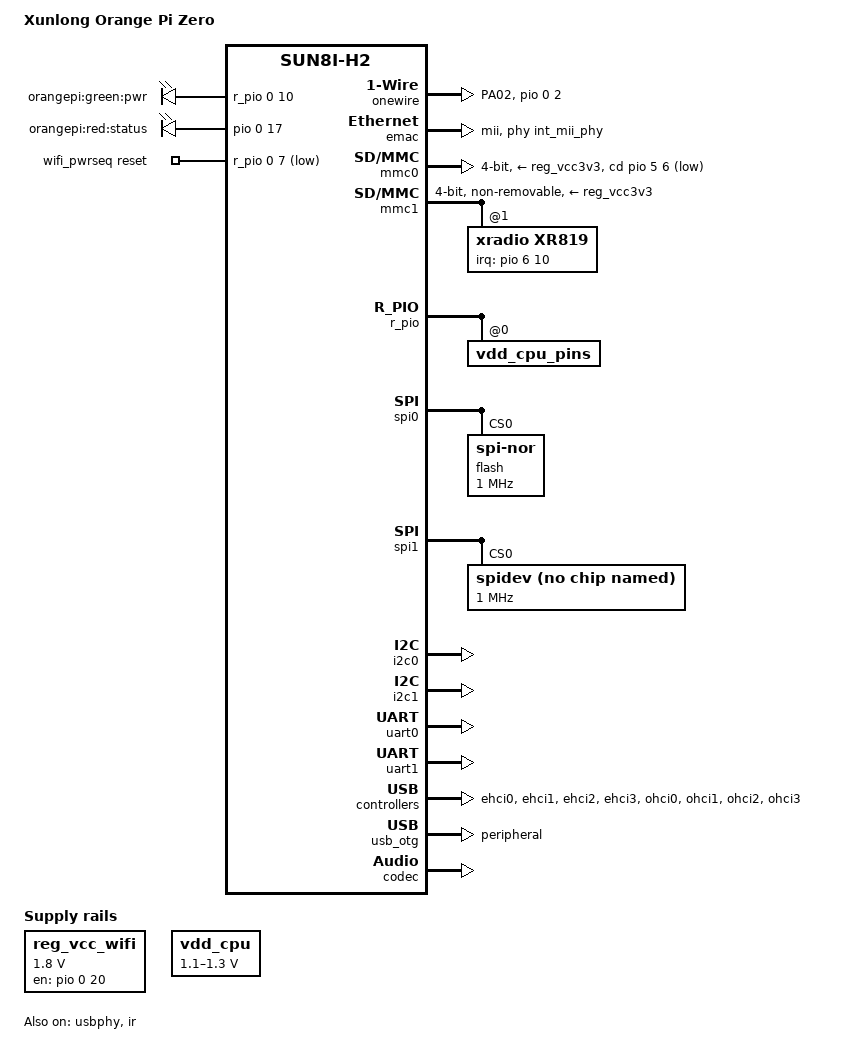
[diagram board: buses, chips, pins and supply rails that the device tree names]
/* by Zdenek Brichacek
   http://blog.brichacek.net
*/

/dts-v1/;
#include "sun8i-h3.dtsi"
#include "sunxi-common-regulators.dtsi"

#include <dt-bindings/gpio/gpio.h>
#include <dt-bindings/input/input.h>
#include <dt-bindings/pinctrl/sun4i-a10.h>
#include <dt-bindings/thermal/thermal.h>

/ {
	model = "Xunlong Orange Pi Zero";
	compatible = "xunlong,orangepi-zero", "allwinner,sun8i-h2-plus";

	aliases {
		serial0 = &uart0;
		/* ethernet0 is the H3 emac, defined in sun8i-h3.dtsi */
		ethernet0 = &emac;
		ethernet1 = &xr819;
		spi0 = "/soc/spi@01c68000";
		spi1 = "/soc/spi@01c69000";
		i2c0 = "/soc/i2c@01c2ac00";
		i2c1 = "/soc/i2c@01c2b000";
		cpu0 = "/cpus/cpu@0";
		serial1 = &uart1;
	};

	chosen {
		stdout-path = "serial0:115200n8";
	};

	cpus {
		#address-cells = <1>;
		#size-cells = <0>;

		cpu0: cpu@0 {
		    compatible = "arm,cortex-a7";
		    device_type = "cpu";
		    reg = <0>;
		    clocks = <&ccu CLK_CPUX>;
		    clock-latency = <244144>; /* 8 32k periods */
		    clock-frequency = <1200000000>;
		};

		cpu@1 {
		    compatible = "arm,cortex-a7";
		    device_type = "cpu";
		    reg = <1>;
		    clock-frequency = <1200000000>;
		};

		cpu@2 {
		    compatible = "arm,cortex-a7";
		    device_type = "cpu";
		    reg = <2>;
		    clock-frequency = <1200000000>;
		};

		cpu@3 {
		    compatible = "arm,cortex-a7";
		    device_type = "cpu";
		    reg = <3>;
		    clock-frequency = <1200000000>;
		};
	};

        thermal-zones {
                cpu_thermal: cpu_thermal {
                        /* milliseconds */
                        polling-delay-passive = <330>;
                        polling-delay = <1000>;
                        thermal-sensors = <&ths 0>;
                };
        };

	soc {
                crypto: crypto-engine@01c15000 {
                        compatible = "allwinner,sun8i-h3-crypto",
                    		     "allwinner,sun4i-a10-crypto",
                    		     "allwinner,sun6i-a31-crypto",
                    		     "allwinner,sun7i-a20-crypto";
                        reg = <0x01c15000 0x1000>;
//                        interrupts = <GIC_SPI 80 IRQ_TYPE_LEVEL_HIGH>;
                        interrupts = <GIC_SPI 86 IRQ_TYPE_LEVEL_HIGH>;
//                        clocks = <&ccu CLK_BUS_SS>, <&ccu CLK_SS>;
                        clocks = <&ccu 24>, <&ccu 69>;
                        clock-names = "ahb", "mod";
//                        resets = <&ccu RST_BUS_SS>;
                        resets = <&ccu 5>;
                        reset-names = "ahb";
                };

/*
		crypto: crypto@1c15000 {
                        compatible = "allwinner,sun8i-h3-crypto";
                        reg = <0x01c15000 0x1000>;
                        interrupts = <GIC_SPI 94 IRQ_TYPE_LEVEL_HIGH>;
                        interrupt-names = "ce_ns";
                        resets = <&ccu RST_BUS_CE>;
                        reset-names = "ahb";
                        clocks = <&ccu CLK_BUS_CE>, <&ccu CLK_CE>;
                        clock-names = "ahb1_ce", "mod";
                        status = "disabled";
                };
*/
                ths: ths@01c25000 {
                        compatible = "allwinner,sun8i-h3-ths";
//                        reg = <0x01c25000 0x100>;
			reg = <0x01c25000 0x400>,
			      <0x01c14234 0x4>;
			interrupts = <GIC_SPI 31 IRQ_TYPE_LEVEL_HIGH>;
                        #thermal-sensor-cells = <0>;
                        #io-channel-cells = <0>;
                        clocks = <&ccu CLK_BUS_THS>, <&ccu CLK_THS>;
                        clock-names = "bus", "ths";
                        resets = <&ccu RST_BUS_THS>;
                        reset-names = "ahb";
                };

		onewire {
            		compatible = "w1-gpio";
            		pinctrl-names = "default";
            		pinctrl-0 = <&w1_pins>;
            		gpios = <&pio 0 2 0>; /* PA02 */
            		status = "okay";
    		};
	};

	leds {
		compatible = "gpio-leds";

		pwr_led {
			label = "orangepi:green:pwr";
			gpios = <&r_pio 0 10 GPIO_ACTIVE_HIGH>;
			default-state = "on";
		};

		status_led {
			label = "orangepi:red:status";
			gpios = <&pio 0 17 GPIO_ACTIVE_HIGH>;
		};
	};

	reg_vcc_wifi: reg_vcc_wifi {
		compatible = "regulator-fixed";
		regulator-min-microvolt = <1800000>;
		regulator-max-microvolt = <1800000>;
		regulator-name = "vcc-wifi";
		enable-active-high;
		gpio = <&pio 0 20 GPIO_ACTIVE_HIGH>;
		startup-delay-us = <70000>;
	};

	wifi_pwrseq: wifi_pwrseq {
		compatible = "mmc-pwrseq-simple";
		pinctrl-names = "default";
		reset-gpios = <&r_pio 0 7 GPIO_ACTIVE_LOW>;
		post-power-on-delay-ms = <50>;
	};

//	iio-hwmon {
//                compatible = "iio-hwmon";
//                io-channels = <&ths>;
//        };

	vdd_cpu: vdd_cpu {
		compatible = "regulator-gpio";
		pinctrl-names = "default";
		pinctrl-0 = <&vdd_cpu_pins>;
		regulator-name = "cpu-core";
		regulator-min-microvolt = <1100000>;
		regulator-max-microvolt = <1300000>;
		regulator-boot-on;
		regulator-always-on;		
		gpios = <&r_pio 0 6 GPIO_ACTIVE_HIGH>;
//		enable-gpio = <&r_pio 0 8 GPIO_ACTIVE_HIGH>;
		states = <1300000 0x1
			1100000 0x0>;

		startup-delay-us = <100000>;
		enable-active-high;
	};

};

&emac {
	phy-handle = <&int_mii_phy>;
	phy-mode = "mii";
	allwinner,leds-active-low;
	status = "okay";
};

&mmc0 {
	pinctrl-names = "default";
	pinctrl-0 = <&mmc0_pins_a>;
	vmmc-supply = <&reg_vcc3v3>;
	bus-width = <4>;
	cd-gpios = <&pio 5 6 GPIO_ACTIVE_HIGH>; /* PF6 */
	cd-inverted;
	status = "okay";
};

&mmc1 {
	pinctrl-names = "default";
	pinctrl-0 = <&mmc1_pins_a>;
	vmmc-supply = <&reg_vcc3v3>;
	vqmmc-supply = <&reg_vcc_wifi>;
	mmc-pwrseq = <&wifi_pwrseq>;
	bus-width = <4>;
	max-frequency = <16000000>;
	non-removable;
	status = "okay";

	/*
	 * Explicitly define the sdio device, so that we can add an ethernet
	 * alias for it (which e.g. makes u-boot set a mac-address).
	 */
	xr819: sdio_wifi@1 {
		reg = <1>;
		compatible = "xradio,xr819";
		pinctrl-names = "default";
		pinctrl-0 = <&wifi_wake>;
		interrupt-parent = <&pio>;
		interrupts = <6 10 IRQ_TYPE_EDGE_RISING>;
		interrupt-names = "host-wake";
//		local-mac-address = [dc 44 6d c0 32 78];
	};
};

&pio {
        wifi_wake: wifi_wake {
                pins = "PG10";
                function = "gpio_in";
	};

	w1_pins: w1_pins {
		pins = "PA02";
		function = "gpio_in";
		bias-pull-up;
	};

	spi1_cs1: spi1_cs1 {
		pins = "PA13";
		function = "gpio_out";
		output-high;
	};
};

&r_pio {
        wifi_rst: wifi_rst {
                pins = "PL7";
                function = "gpio_out";
	};

	vdd_cpu_pins: vdd_cpu_pins@0 {
		allwinner,pins = "PL6";
                allwinner,function = "gpio_out";
                allwinner,drive = <SUN4I_PINCTRL_10_MA>;
                allwinner,pull = <SUN4I_PINCTRL_NO_PULL>;
	};
};

&mmc1_pins_a {
	bias-pull-up;
};

&spi0 {
	/* Disable SPI NOR by default: it optional on Orange Pi Zero boards */
	status = "okay";

	flash@0 {
		#address-cells = <1>;
		#size-cells = <1>;
//		compatible = "mxicy,mx25l1606e", "winbond,w25q128";
		compatible = "jedec,spi-nor";
		reg = <0>;
//		spi-max-frequency = <40000000>;
		spi-max-frequency = <1000000>;
		status = "okay";
	};
};

&spi1 {
	pinctrl-names = "default", "default";
	pinctrl-1 = <&spi1_cs1>;
	cs-gpios = <0>, <&pio 0 13 0>; /* PA13 */
	status = "okay";
	spidev {
		compatible = "spidev";
		status = "okay";
		reg = <0>;
		spi-max-frequency = <1000000>;
	};
};

&i2c0 {
	status = "okay";
};

&i2c1 {
	status = "okay";
};

&uart0 {
	pinctrl-names = "default";
	pinctrl-0 = <&uart0_pins_a>;
	status = "okay";
};

&uart1 {
	pinctrl-names = "default";
	pinctrl-0 = <&uart1_pins>;
	status = "okay";
};

&uart2 {
	pinctrl-names = "default";
	pinctrl-0 = <&uart2_pins>;
	status = "disabled";
};

&ehci0 {
	status = "okay";
};

&ehci1 {
	status = "okay";
};

&ehci2 {
	status = "okay";
};

&ehci3 {
	status = "okay";
};

&ohci0 {
	status = "okay";
};

&ohci1 {
	status = "okay";
};


&ohci2 {
	status = "okay";
};

&ohci3 {
	status = "okay";
};

&usb_otg {
	dr_mode = "peripheral";
//	dr_mode = "otg";
	status = "okay";
};

&usbphy {
	/*
	 * USB Type-A port VBUS is always on. However, MicroUSB VBUS can only
	 * power up the board; when it's used as OTG port, this VBUS is
	 * always off even if the board is powered via GPIO pins.
	 */
	status = "okay";
	usb0_id_det-gpios = <&pio 6 12 GPIO_ACTIVE_HIGH>; /* PG12 */
};

&ir	{
        pinctrl-names = "default";
        pinctrl-0 = <&ir_pins_a>;
        status = "okay";
};

&codec {
	allwinner,audio-routing = "Line Out", "LINEOUT", "MIC1", "Mic", "Mic",  "MBIAS";
	status = "okay";
};

&pwm {
	status = "disabled";
};

&cpu0 {
    operating-points = <
	/* kHz	  uV */
	1008000	1300000
	960000	1300000
	816000	1100000
	648000	1100000
	480000	1100000
	408000	1100000
	240000	1100000
	120000	1100000
	>;
    #cooling-cells = <2>;
    cooling-min-level = <0>;
    cooling-max-level = <8>;
    cpu0-supply = <&vdd_cpu>;
};


&cpu_thermal {
    trips {
	cpu_warm: cpu_warm {
	    temperature = <40000>;
	    hysteresis = <2000>;
	    type = "passive";
	};
	cpu_hot: cpu_hot {
	    temperature = <50000>;
	    hysteresis = <2000>;
	    type = "passive";
	};
	cpu_very_hot: cpu_very_hot {
	    temperature = <60000>;
	    hysteresis = <2000>;
	    type = "passive";
	};
	cpu_crit: cpu_crit {
	    temperature = <70000>;
	    hysteresis = <2000>;
	    type = "critical";
	};
    };

    cooling-maps {
	cpu_warm_limit_cpu {
	    trip = <&cpu_warm>;
	    cooling-device = <&cpu0 THERMAL_NO_LIMIT 6>;
	};
	cpu_hot_limit_cpu {
	    trip = <&cpu_hot>;
	    cooling-device = <&cpu0 7 7>;
	};
	cpu_very_hot_limit_cpu {
	    trip = <&cpu_very_hot>;
	    cooling-device = <&cpu0 8 THERMAL_NO_LIMIT>;
	};
    };
};
